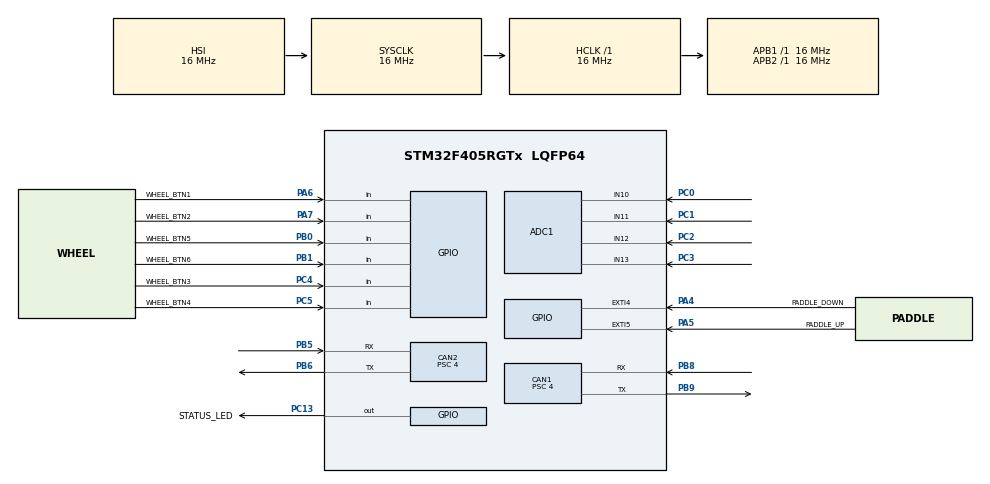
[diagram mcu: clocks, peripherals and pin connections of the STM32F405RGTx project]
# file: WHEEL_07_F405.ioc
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ADC1.Channel-0\#ChannelRegularConversion=ADC_CHANNEL_10
ADC1.Channel-1\#ChannelRegularConversion=ADC_CHANNEL_11
ADC1.Channel-2\#ChannelRegularConversion=ADC_CHANNEL_12
ADC1.Channel-3\#ChannelRegularConversion=ADC_CHANNEL_13
ADC1.ContinuousConvMode=DISABLE
ADC1.DMAContinuousRequests=ENABLE
ADC1.EOCSelection=ADC_EOC_SEQ_CONV
ADC1.ExternalTrigConv=ADC_EXTERNALTRIGCONV_T3_TRGO
ADC1.NbrOfConversion=4
ADC1.NbrOfConversionFlag=1
ADC1.Rank-0\#ChannelRegularConversion=1
ADC1.Rank-1\#ChannelRegularConversion=2
ADC1.Rank-2\#ChannelRegularConversion=3
ADC1.Rank-3\#ChannelRegularConversion=4
ADC1.SamplingTime-0\#ChannelRegularConversion=ADC_SAMPLETIME_112CYCLES
ADC1.SamplingTime-1\#ChannelRegularConversion=ADC_SAMPLETIME_112CYCLES
ADC1.SamplingTime-2\#ChannelRegularConversion=ADC_SAMPLETIME_112CYCLES
ADC1.SamplingTime-3\#ChannelRegularConversion=ADC_SAMPLETIME_112CYCLES
ADC1.master=1
CAN1.BS1=CAN_BS1_2TQ
CAN1.CalculateBaudRate=1000000
CAN1.CalculateTimeBit=1000
CAN1.CalculateTimeQuantum=250.0
CAN1.Mode=CAN_MODE_NORMAL
CAN1.Prescaler=4
CAN2.BS1=CAN_BS1_2TQ
CAN2.CalculateBaudRate=1000000
CAN2.CalculateTimeBit=1000
CAN2.CalculateTimeQuantum=250.0
CAN2.Prescaler=4
Dma.ADC1.0.Direction=DMA_PERIPH_TO_MEMORY
Dma.ADC1.0.FIFOMode=DMA_FIFOMODE_DISABLE
Dma.ADC1.0.Instance=DMA2_Stream0
Dma.ADC1.0.MemDataAlignment=DMA_MDATAALIGN_WORD
Dma.ADC1.0.MemInc=DMA_MINC_ENABLE
Dma.ADC1.0.Mode=DMA_CIRCULAR
Dma.ADC1.0.PeriphDataAlignment=DMA_PDATAALIGN_WORD
Dma.ADC1.0.PeriphInc=DMA_PINC_DISABLE
Dma.ADC1.0.Priority=DMA_PRIORITY_LOW
Dma.Request0=ADC1
FREERTOS.Tasks01=defaultTask,24,128,StartDefaultTask,Default,NULL,Dynamic,NULL,NULL;statusTask,8,128,statusTaskStart,Default,NULL,Dynamic,NULL,NULL;adcTask,8,128,adcTaskStart,As external,NULL,Dynamic,NULL,NULL;muxswTask,8,128,muxswTaskStart,As external,NULL,Dynamic,NULL,NULL;paddleIRQTask,48,128,paddleIRQTaskStart,As external,NULL,Dynamic,NULL,NULL;ubuttonsTask,8,128,ubuttonsTaskStart,As external,NULL,Dynamic,NULL,NULL;can1Task,24,128,can1TaskStart,As external,NULL,Dynamic,NULL,NULL;can2Task,24,128,can2TaskStart,As external,NULL,Dynamic,NULL,NULL;muxswNotifyTask,8,128,muxswNotifyTaskStart,As external,NULL,Dynamic,NULL,NULL;ubtnNotifyTask,8,128,ubuttonsNotifyTaskStart,As external,NULL,Dynamic,NULL,NULL
FREERTOS.configENABLE_FPU=0
FREERTOS.configTIMER_TASK_PRIORITY=25
FREERTOS.configTOTAL_HEAP_SIZE=25360
FREERTOS.configUSE_NEWLIB_REENTRANT=1
Mcu.Family=STM32F4
Mcu.Name=STM32F405RGTx
Mcu.Package=LQFP64
NVIC.CAN1_RX0_IRQn=true\:5\:0\:false\:false\:true\:true\:true\:true\:true
NVIC.CAN1_RX1_IRQn=true\:5\:0\:false\:false\:true\:true\:true\:true\:true
NVIC.CAN1_TX_IRQn=true\:5\:0\:false\:false\:true\:true\:true\:true\:true
NVIC.DMA2_Stream0_IRQn=true\:5\:0\:false\:false\:true\:true\:false\:true\:true
NVIC.EXTI4_IRQn=true\:5\:0\:false\:false\:true\:true\:true\:true\:true
NVIC.EXTI9_5_IRQn=true\:5\:0\:false\:false\:true\:true\:true\:true\:true
NVIC.PriorityGroup=NVIC_PRIORITYGROUP_4
NVIC.TIM6_DAC_IRQn=true\:15\:0\:false\:false\:true\:false\:false\:true\:true
NVIC.TIM8_TRG_COM_TIM14_IRQn=true\:5\:0\:false\:false\:true\:true\:true\:true\:true
NVIC.TIM8_UP_TIM13_IRQn=true\:5\:0\:false\:false\:true\:true\:true\:true\:true
NVIC.TimeBase=TIM6_DAC_IRQn
NVIC.TimeBaseIP=TIM6
PA13.Mode=Trace_Asynchronous_SW
PA13.Signal=SYS_JTMS-SWDIO
PA14.Mode=Trace_Asynchronous_SW
PA14.Signal=SYS_JTCK-SWCLK
PA4.GPIO_Label=PADDLE_DOWN
PA4.GPIO_ModeDefaultEXTI=GPIO_MODE_IT_RISING_FALLING
PA4.GPIO_PuPd=GPIO_NOPULL
PA4.Signal=GPXTI4
PA5.GPIO_Label=PADDLE_UP
PA5.GPIO_ModeDefaultEXTI=GPIO_MODE_IT_RISING_FALLING
PA5.GPIO_PuPd=GPIO_NOPULL
PA5.Signal=GPXTI5
PA6.GPIO_Label=WHEEL_BTN1
PA6.GPIO_PuPd=GPIO_PULLUP
PA6.Signal=GPIO_Input
PA7.GPIO_Label=WHEEL_BTN2
PA7.GPIO_PuPd=GPIO_PULLUP
PA7.Signal=GPIO_Input
PB0.GPIO_Label=WHEEL_BTN5
PB0.GPIO_PuPd=GPIO_PULLUP
PB0.Signal=GPIO_Input
PB1.GPIO_Label=WHEEL_BTN6
PB1.GPIO_PuPd=GPIO_PULLUP
PB1.Signal=GPIO_Input
PB3.Mode=Trace_Asynchronous_SW
PB3.Signal=SYS_JTDO-SWO
PB5.Mode=CAN_Activate
PB5.Signal=CAN2_RX
PB6.Mode=CAN_Activate
PB6.Signal=CAN2_TX
PB8.Mode=CAN_Activate
PB8.Signal=CAN1_RX
PB9.Mode=CAN_Activate
PB9.Signal=CAN1_TX
PC0.Signal=ADCx_IN10
PC1.Signal=ADCx_IN11
PC13-ANTI_TAMP.GPIO_Label=STATUS_LED
PC13-ANTI_TAMP.Signal=GPIO_Output
PC2.Signal=ADCx_IN12
PC3.Signal=ADCx_IN13
PC4.GPIO_Label=WHEEL_BTN3
PC4.GPIO_PuPd=GPIO_PULLUP
PC4.Signal=GPIO_Input
PC5.GPIO_Label=WHEEL_BTN4
PC5.GPIO_PuPd=GPIO_PULLUP
PC5.Signal=GPIO_Input
ProjectManager.HeapSize=0x200
ProjectManager.StackSize=0x400
ProjectManager.TargetToolchain=STM32CubeIDE
RCC.AHBFreq_Value=16000000
RCC.APB1Freq_Value=16000000
RCC.APB2Freq_Value=16000000
RCC.CortexFreq_Value=16000000
RCC.HSE_VALUE=25000000
RCC.HSI_VALUE=16000000
RCC.LSE_VALUE=32768
RCC.SYSCLKFreq_VALUE=16000000
RCC.VCOOutputFreq_Value=192000000
SH.ADCx_IN10.0=ADC1_IN10,IN10
SH.ADCx_IN11.0=ADC1_IN11,IN11
SH.ADCx_IN12.0=ADC1_IN12,IN12
SH.ADCx_IN13.0=ADC1_IN13,IN13
TIM13.Period=199
TIM13.Prescaler=1600-1
TIM14.Period=199
TIM14.Prescaler=1600-1
TIM3.Period=49
TIM3.Prescaler=1600-1
TIM3.TIM_MasterOutputTrigger=TIM_TRGO_UPDATE
VP_FREERTOS_VS_CMSIS_V2.Mode=CMSIS_V2
VP_SYS_VS_tim6.Mode=TIM6
VP_TIM13_VS_ClockSourceINT.Mode=Enable_Timer
VP_TIM14_VS_ClockSourceINT.Mode=Enable_Timer
VP_TIM3_VS_ClockSourceINT.Mode=Internal
board=custom

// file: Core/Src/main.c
/* USER CODE BEGIN Header */
/**
  ******************************************************************************
  * @file           : main.c
  * @brief          : Main program body
  ******************************************************************************
  * @attention
  *
  * Copyright (c) 2023 STMicroelectronics.
  * All rights reserved.
  *
  * This software is licensed under terms that can be found in the LICENSE file
  * in the root directory of this software component.
  * If no LICENSE file comes with this software, it is provided AS-IS.
  *
  ******************************************************************************
  */
/* USER CODE END Header */
#include "main.h"
#include "cmsis_os.h"
#include "adc.h"
#include "can.h"
#include "dma.h"
#include "tim.h"
#include "gpio.h"

/* USER CODE BEGIN Includes */
#include "rotary.h"
#include "adc.h"
#include "paddleIRQ.h"
/* USER CODE END Includes */

void SystemClock_Config(void);
void MX_FREERTOS_Init(void);

/* USER CODE BEGIN 0 */
CAN_TxHeaderTypeDef TxHeader;
CAN_RxHeaderTypeDef RxHeader;

uint32_t TxMailbox[4];

uint8_t TxData[8];
uint8_t RxData[8];

uint8_t count = 0;

void HAL_CAN_RxFifo0MsgPendingCallback(CAN_HandleTypeDef *hcan)
{
    HAL_CAN_GetRxMessage(hcan, CAN_RX_FIFO0, &RxHeader, RxData);
    count++;
}
/* USER CODE END 0 */

int main(void)
{

  /* MCU Configuration--------------------------------------------------------*/

  /* Reset of all peripherals, Initializes the Flash interface and the Systick. */
  HAL_Init();

  /* Configure the system clock */
  SystemClock_Config();

  /* Initialize all configured peripherals */
  MX_GPIO_Init();
  MX_DMA_Init();
  MX_CAN1_Init();
  MX_ADC1_Init();
  MX_TIM3_Init();
  MX_TIM13_Init();
  MX_TIM14_Init();
  MX_CAN2_Init();
  /* USER CODE BEGIN 2 */

  //HAL_CAN_ActivateNotification(&hcan1, CAN_IT_RX_FIFO0_MSG_PENDING);

  /* USER CODE END 2 */

  /* Init scheduler */
  osKernelInitialize();  /* Call init function for freertos objects (in freertos.c) */
  MX_FREERTOS_Init();

  /* Start scheduler */
  osKernelStart();

  /* We should never get here as control is now taken by the scheduler */
  /* Infinite loop */
  while (1)
  {

  }
}

void SystemClock_Config(void)
{
  RCC_OscInitTypeDef RCC_OscInitStruct = {0};
  RCC_ClkInitTypeDef RCC_ClkInitStruct = {0};

  /** Configure the main internal regulator output voltage
  */
  __HAL_RCC_PWR_CLK_ENABLE();
  __HAL_PWR_VOLTAGESCALING_CONFIG(PWR_REGULATOR_VOLTAGE_SCALE1);

  /** Initializes the RCC Oscillators according to the specified parameters
  * in the RCC_OscInitTypeDef structure.
  */
  RCC_OscInitStruct.OscillatorType = RCC_OSCILLATORTYPE_HSI;
  RCC_OscInitStruct.HSIState = RCC_HSI_ON;
  RCC_OscInitStruct.HSICalibrationValue = RCC_HSICALIBRATION_DEFAULT;
  RCC_OscInitStruct.PLL.PLLState = RCC_PLL_NONE;
  if (HAL_RCC_OscConfig(&RCC_OscInitStruct) != HAL_OK)
  {
    Error_Handler();
  }

  /** Initializes the CPU, AHB and APB buses clocks
  */
  RCC_ClkInitStruct.ClockType = RCC_CLOCKTYPE_HCLK|RCC_CLOCKTYPE_SYSCLK
                              |RCC_CLOCKTYPE_PCLK1|RCC_CLOCKTYPE_PCLK2;
  RCC_ClkInitStruct.SYSCLKSource = RCC_SYSCLKSOURCE_HSI;
  RCC_ClkInitStruct.AHBCLKDivider = RCC_SYSCLK_DIV1;
  RCC_ClkInitStruct.APB1CLKDivider = RCC_HCLK_DIV1;
  RCC_ClkInitStruct.APB2CLKDivider = RCC_HCLK_DIV1;

  if (HAL_RCC_ClockConfig(&RCC_ClkInitStruct, FLASH_LATENCY_0) != HAL_OK)
  {
    Error_Handler();
  }
}

void HAL_TIM_PeriodElapsedCallback(TIM_HandleTypeDef *htim)
{
  if (htim->Instance == TIM6) {
    HAL_IncTick();
  }
  /* USER CODE BEGIN Callback 1 */
  if(htim->Instance == TIM13 || htim->Instance == TIM14)
     debouncingTIMCallback(htim);
  /* USER CODE END Callback 1 */
}

void Error_Handler(void)
{
  __disable_irq();
  while (1)
  {
  }
}

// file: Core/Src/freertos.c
/* USER CODE BEGIN Header */
/**
  ******************************************************************************
  * File Name          : freertos.c
  * Description        : Code for freertos applications
  ******************************************************************************
  * @attention
  *
  * Copyright (c) 2023 STMicroelectronics.
  * All rights reserved.
  *
  * This software is licensed under terms that can be found in the LICENSE file
  * in the root directory of this software component.
  * If no LICENSE file comes with this software, it is provided AS-IS.
  *
  ******************************************************************************
  */
/* USER CODE END Header */

#include "FreeRTOS.h"
#include "task.h"
#include "main.h"
#include "cmsis_os.h"

/* USER CODE BEGIN Variables */
/* Definitions for paddleIUpDebounceTimer */
/* USER CODE END Variables */
/* Definitions for defaultTask */
osThreadId_t defaultTaskHandle;
const osThreadAttr_t defaultTask_attributes = {
  .name = "defaultTask",
  .stack_size = 128 * 4,
  .priority = (osPriority_t) osPriorityNormal,
};
/* Definitions for statusTask */
osThreadId_t statusTaskHandle;
const osThreadAttr_t statusTask_attributes = {
  .name = "statusTask",
  .stack_size = 128 * 4,
  .priority = (osPriority_t) osPriorityLow,
};
/* Definitions for adcTask */
osThreadId_t adcTaskHandle;
const osThreadAttr_t adcTask_attributes = {
  .name = "adcTask",
  .stack_size = 128 * 4,
  .priority = (osPriority_t) osPriorityLow,
};
/* Definitions for muxswTask */
osThreadId_t muxswTaskHandle;
const osThreadAttr_t muxswTask_attributes = {
  .name = "muxswTask",
  .stack_size = 128 * 4,
  .priority = (osPriority_t) osPriorityLow,
};
/* Definitions for paddleIRQTask */
osThreadId_t paddleIRQTaskHandle;
const osThreadAttr_t paddleIRQTask_attributes = {
  .name = "paddleIRQTask",
  .stack_size = 128 * 4,
  .priority = (osPriority_t) osPriorityRealtime,
};
/* Definitions for ubuttonsTask */
osThreadId_t ubuttonsTaskHandle;
const osThreadAttr_t ubuttonsTask_attributes = {
  .name = "ubuttonsTask",
  .stack_size = 128 * 4,
  .priority = (osPriority_t) osPriorityLow,
};
/* Definitions for can1Task */
osThreadId_t can1TaskHandle;
const osThreadAttr_t can1Task_attributes = {
  .name = "can1Task",
  .stack_size = 128 * 4,
  .priority = (osPriority_t) osPriorityNormal,
};
/* Definitions for can2Task */
osThreadId_t can2TaskHandle;
const osThreadAttr_t can2Task_attributes = {
  .name = "can2Task",
  .stack_size = 128 * 4,
  .priority = (osPriority_t) osPriorityNormal,
};
/* Definitions for muxswNotifyTask */
osThreadId_t muxswNotifyTaskHandle;
const osThreadAttr_t muxswNotifyTask_attributes = {
  .name = "muxswNotifyTask",
  .stack_size = 128 * 4,
  .priority = (osPriority_t) osPriorityLow,
};
/* Definitions for ubtnNotifyTask */
osThreadId_t ubtnNotifyTaskHandle;
const osThreadAttr_t ubtnNotifyTask_attributes = {
  .name = "ubtnNotifyTask",
  .stack_size = 128 * 4,
  .priority = (osPriority_t) osPriorityLow,
};

void StartDefaultTask(void *argument);
void statusTaskStart(void *argument);
extern void adcTaskStart(void *argument);
extern void muxswTaskStart(void *argument);
extern void paddleIRQTaskStart(void *argument);
extern void ubuttonsTaskStart(void *argument);
extern void can1TaskStart(void *argument);
extern void can2TaskStart(void *argument);
extern void muxswNotifyTaskStart(void *argument);
extern void ubuttonsNotifyTaskStart(void *argument);

void MX_FREERTOS_Init(void); /* (MISRA C 2004 rule 8.1) */

void MX_FREERTOS_Init(void) {

  /* Create the thread(s) */
  /* creation of defaultTask */
  defaultTaskHandle = osThreadNew(StartDefaultTask, NULL, &defaultTask_attributes);

  /* creation of statusTask */
  statusTaskHandle = osThreadNew(statusTaskStart, NULL, &statusTask_attributes);

  /* creation of adcTask */
  adcTaskHandle = osThreadNew(adcTaskStart, NULL, &adcTask_attributes);

  /* creation of muxswTask */
  muxswTaskHandle = osThreadNew(muxswTaskStart, NULL, &muxswTask_attributes);

  /* creation of paddleIRQTask */
  paddleIRQTaskHandle = osThreadNew(paddleIRQTaskStart, NULL, &paddleIRQTask_attributes);

  /* creation of ubuttonsTask */
  ubuttonsTaskHandle = osThreadNew(ubuttonsTaskStart, NULL, &ubuttonsTask_attributes);

  /* creation of can1Task */
  can1TaskHandle = osThreadNew(can1TaskStart, NULL, &can1Task_attributes);

  /* creation of can2Task */
  can2TaskHandle = osThreadNew(can2TaskStart, NULL, &can2Task_attributes);

  /* creation of muxswNotifyTask */
  muxswNotifyTaskHandle = osThreadNew(muxswNotifyTaskStart, NULL, &muxswNotifyTask_attributes);

  /* creation of ubtnNotifyTask */
  ubtnNotifyTaskHandle = osThreadNew(ubuttonsNotifyTaskStart, NULL, &ubtnNotifyTask_attributes);

}

void StartDefaultTask(void *argument)
{
  /* USER CODE BEGIN StartDefaultTask */
  //osTimerStart(testTimerHandle, pdMS_TO_TICKS(20));
  /* Infinite loop */
  for(;;)
  {
    osDelay(1);
  }
  /* USER CODE END StartDefaultTask */
}

void statusTaskStart(void *argument)
{
  /* USER CODE BEGIN statusTaskStart */
  /* Infinite loop */
  for(;;)
  {
      HAL_GPIO_TogglePin(STATUS_LED_GPIO_Port, STATUS_LED_Pin);
      osDelay(100);
  }
  /* USER CODE END statusTaskStart */
}
